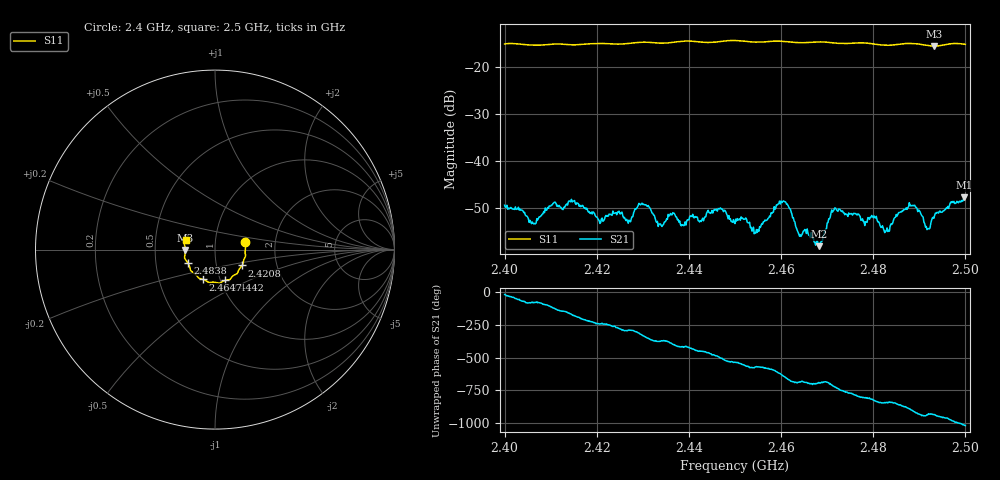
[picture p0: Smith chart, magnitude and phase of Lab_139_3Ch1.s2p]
# Hz S RI R 50
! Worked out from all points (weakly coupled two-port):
!   601 points, 2.4 GHz to 2.5 GHz, reference 50 ohm
!   highest |S21| = -47.76 dB at 2.4997 GHz (marker M1); lowest = -58.1 dB at 2.4682 GHz (marker M2)
!   lowest |S11| = -15.6 dB at 2.4932 GHz (marker M3), VSWR 1.40, Z = 35.8 - j0.119 ohm
!   |S11| at or under -10 dB: start of sweep to end of sweep
!   S12 and S22 are empty: the file has one direction only
!   S11 on the Smith chart (normalised r, x): 2.4 GHz: 1.40, +0.12; 2.4208 GHz: 1.33, -0.24; 2.4442 GHz: 1.05, -0.37; 2.4647 GHz: 0.83, -0.28; 2.4838 GHz: 0.73, -0.11; 2.5 GHz: 0.71, +0.08
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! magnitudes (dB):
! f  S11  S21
! 2.4 GHz  -15.2  -49.4
! 2.4063 GHz  -15.4  -53.4
! 2.4107 GHz  -15.2  -48.9
! 2.4167 GHz  -15.3  -49.7
! 2.4208 GHz  -15.1  -53.1
! 2.4297 GHz  -14.8  -49.2
! 2.4333 GHz  -15.0  -53.9
! 2.4442 GHz  -14.9  -50.5
! 2.45 GHz  -14.5  -53.3
! 2.4547 GHz  -14.8  -54.6
! 2.4605 GHz  -14.7  -48.5
! 2.4647 GHz  -14.9  -55.4
! 2.4667 GHz  -14.8  -56.1
! 2.4682 GHz  -14.8  -58.1
! 2.4715 GHz  -15.0  -50.4
! 2.4833 GHz  -15.5  -54.8
! 2.4838 GHz  -15.5  -53.4
! 2.4883 GHz  -15.1  -49.6
! 2.4918 GHz  -15.5  -54.4
! 2.4932 GHz  -15.6  -52.2
! 2.4997 GHz  -15.2  -47.8
! 2.5 GHz  -15.3  -47.8
